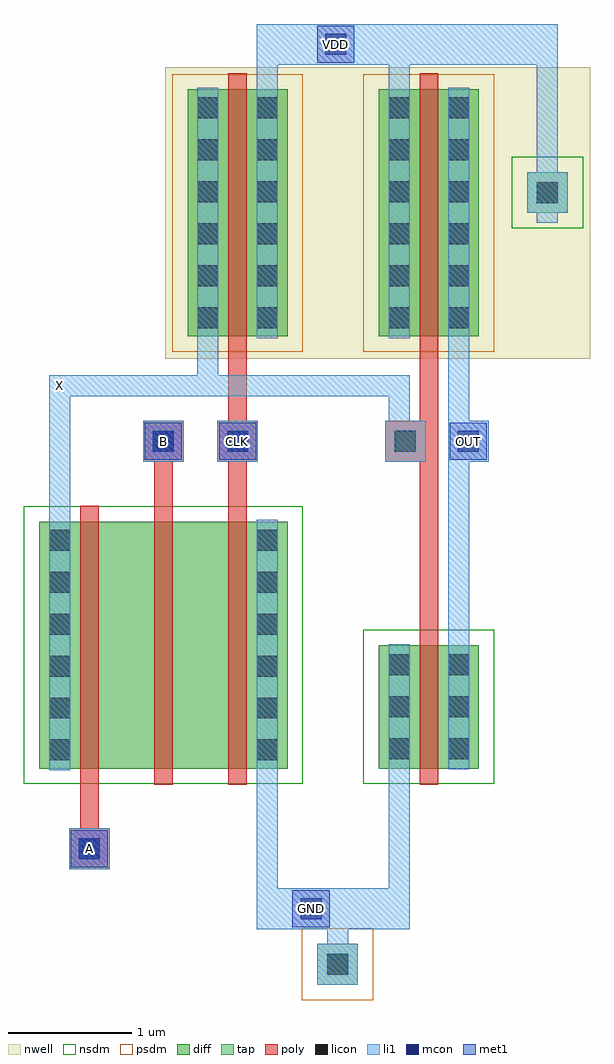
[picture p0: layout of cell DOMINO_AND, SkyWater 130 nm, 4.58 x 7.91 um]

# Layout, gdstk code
import gdstk
lib = gdstk.Library(unit=1e-6, precision=1e-09)
def R(c, l, rs):  # rectangles x0, y0, x1, y1
    for r in rs: c.add(gdstk.rectangle(r[:2], r[2:], *l))
def A(c, l, x, y, w, h, nx, ny, dx, dy):  # array of equal rectangles
    R(c, l, [(x+i*dx, y+j*dy, x+i*dx+w, y+j*dy+h) for i in range(nx) for j in range(ny)])
nwell = (64, 20)
diff = (65, 20)
tap = (65, 44)
poly = (66, 20)
licon = (66, 44)
li1 = (67, 20)
mcon = (67, 44)
met1 = (68, 20)
nsdm = (93, 44)
psdm = (94, 20)

domino_and = lib.new_cell('DOMINO_AND')
R(domino_and, nwell, [(1.02,3.32,4.46,5.68)])
R(domino_and, diff, [(0,0,2.01,2), (2.75,0,3.56,1), (1.2,3.5,2.01,5.5), (2.75,3.5,3.56,5.5)])
R(domino_and, tap, [(2.25,-1.75,2.58,-1.42), (3.95,4.5,4.28,4.83)])
R(domino_and, poly, [(0.24,-0.815,0.57,-0.485), (0.33,-0.815,0.48,2.13), (0.93,-0.13,1.08,2.815), (1.53,-0.13,1.68,5.63), (3.08,-0.13,3.23,5.63), (0.84,2.485,1.17,2.815), (1.44,2.485,1.77,2.815), (2.8,2.485,3.23,2.815)])
A(domino_and, licon, 0.08, 0.065, 0.17, 0.17, 1, 6, 0, 0.34)
A(domino_and, licon, 1.76, 0.065, 0.17, 0.17, 1, 6, 0, 0.34)
A(domino_and, licon, 2.83, 0.075, 0.17, 0.17, 1, 3, 0, 0.34)
A(domino_and, licon, 3.31, 0.075, 0.17, 0.17, 1, 3, 0, 0.34)
A(domino_and, licon, 1.28, 3.565, 0.17, 0.17, 1, 6, 0, 0.34)
A(domino_and, licon, 1.76, 3.565, 0.17, 0.17, 1, 6, 0, 0.34)
A(domino_and, licon, 2.83, 3.565, 0.17, 0.17, 1, 6, 0, 0.34)
A(domino_and, licon, 3.31, 3.565, 0.17, 0.17, 1, 6, 0, 0.34)
R(domino_and, licon, [(2.33,-1.67,2.5,-1.5), (0.32,-0.735,0.49,-0.565), (0.92,2.565,1.09,2.735), (1.52,2.565,1.69,2.735), (2.88,2.565,3.05,2.735), (4.03,4.58,4.2,4.75)])
R(domino_and, li1, [(2.25,-1.75,2.58,-1.42), (2.33,-1.75,2.5,-1), (1.76,-1.3,1.93,2.015), (1.76,-1.3,3,-0.97), (2.83,-1.3,3,1.005), (0.24,-0.815,0.57,-0.485), (0.08,-0.015,0.25,3.185), (3.31,-0.005,3.48,5.515), (0.84,2.485,1.17,2.815), (1.44,2.485,1.77,2.815), (2.8,2.485,3.13,2.815), (3.31,2.485,3.64,2.815), (2.83,2.7,3,3.185), (0.08,3.015,3,3.185), (1.28,3.015,1.45,5.515), (1.76,3.485,1.93,6.03), (2.83,3.485,3,6.03), (4.03,4.42,4.2,6.03), (3.95,4.5,4.28,4.83), (1.76,5.7,4.2,6.03)])
R(domino_and, mcon, [(2.115,-1.22,2.285,-1.05), (0.32,-0.735,0.49,-0.565), (0.92,2.565,1.09,2.735), (1.52,2.565,1.69,2.735), (3.39,2.565,3.56,2.735), (2.315,5.78,2.485,5.95)])
R(domino_and, met1, [(2.05,-1.285,2.35,-0.985), (0.255,-0.8,0.555,-0.5), (0.855,2.5,1.155,2.8), (1.455,2.5,1.755,2.8), (3.325,2.5,3.625,2.8), (2.25,5.715,2.55,6.015)])
R(domino_and, nsdm, [(-0.125,-0.125,2.135,2.125), (2.625,-0.125,3.685,1.125), (3.825,4.375,4.405,4.955)])
R(domino_and, psdm, [(2.125,-1.875,2.705,-1.295), (1.075,3.375,2.135,5.625), (2.625,3.375,3.685,5.625)])
domino_and.add(gdstk.Label('A', (0.405,-0.65), layer=68, texttype=5))
domino_and.add(gdstk.Label('B', (1.005,2.65), layer=68, texttype=5))
domino_and.add(gdstk.Label('CLK', (1.605,2.65), layer=68, texttype=5))
domino_and.add(gdstk.Label('OUT', (3.475,2.65), layer=68, texttype=5))
domino_and.add(gdstk.Label('GND', (2.2,-1.135), layer=68, texttype=5))
domino_and.add(gdstk.Label('VDD', (2.4,5.865), layer=68, texttype=5))
domino_and.add(gdstk.Label('X', (0.165,3.1), layer=67, texttype=5))

lib.write_gds('DOMINO_AND.gds')
